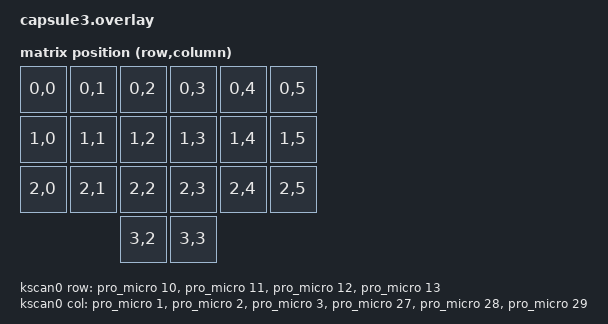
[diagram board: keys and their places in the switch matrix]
/*
 * Copyright (c) 2024 miketronic
 * SPDX-License-Identifier: MIT
 */

#include <dt-bindings/zmk/matrix_transform.h>


/ {
    chosen {
	zmk,kscan = &kscan0;
	zmk,matrix_transform = &default_transform;
	};

    kscan0: kscan {
		    compatible = "zmk,kscan-gpio-matrix";
        diode-direction = "col2row";          
        col-gpios
            = <&pro_micro 1 (GPIO_ACTIVE_HIGH)> // COL0
            , <&pro_micro 2 (GPIO_ACTIVE_HIGH)> // COL1
            , <&pro_micro 3 (GPIO_ACTIVE_HIGH)> // COL2
            , <&pro_micro 27 (GPIO_ACTIVE_HIGH)> // COL3
            , <&pro_micro 28 (GPIO_ACTIVE_HIGH)> // COL4
            , <&pro_micro 29 (GPIO_ACTIVE_HIGH)> // COL5
            ;
        row-gpios
            = <&pro_micro 10 (GPIO_ACTIVE_HIGH | GPIO_PULL_DOWN)> // ROW0
            , <&pro_micro 11 (GPIO_ACTIVE_HIGH | GPIO_PULL_DOWN)> // ROW1
            , <&pro_micro 12 (GPIO_ACTIVE_HIGH | GPIO_PULL_DOWN)> // ROW2
            , <&pro_micro 13 (GPIO_ACTIVE_HIGH | GPIO_PULL_DOWN)> // ROW3
            ;
	};

	default_transform: keymap_transform_0 {
		compatible = "zmk,matrix-transform";
		columns = <6>;
		rows = <4>;
		map = <
	      RC(0,0)  RC(0,1)   RC(0,2)  		      RC(0,3)  RC(0,4)  RC(0,5)
		    RC(1,0)  RC(1,1)   RC(1,2)  		      RC(1,3)  RC(1,4)  RC(1,5)
        RC(2,0)  RC(2,1)   RC(2,2)  	        RC(2,3)  RC(2,4)  RC(2,5)
		                         RC(3,2)       RC(3,3)
		>;
	};

};
